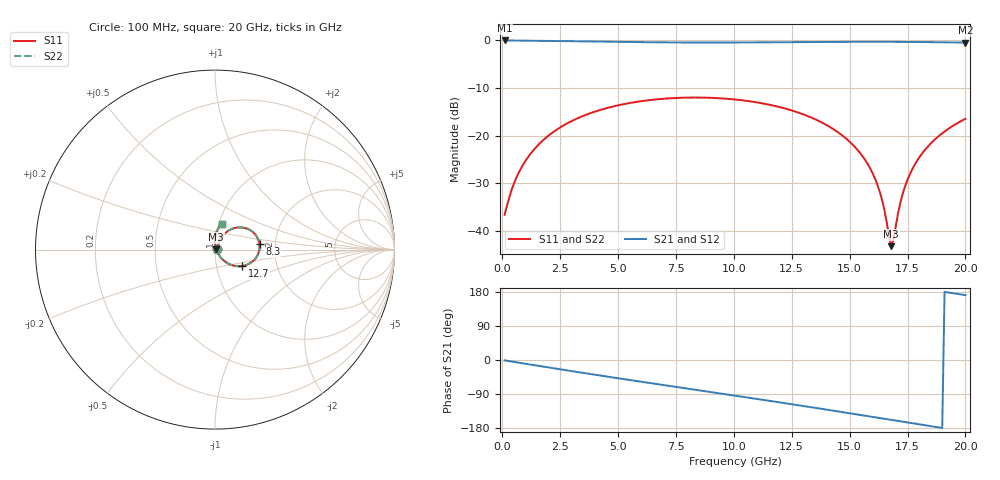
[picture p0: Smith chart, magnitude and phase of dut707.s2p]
! Touchstone file exported from HFSS 2026.1.0
!  File:  C:/ffzhzh/LocalFiles/Ansys_Project_Files/temp_train_TSV_RDL_707_1783199758_18472.aedt
!  Generated:  05:24:49 AM Jul  5, 2026
!  Design:  TSV_RDL
!  Project:  temp_train_TSV_RDL_707_1783199758_18472
! Variables:
!  h_bsmrdl = 3.28um
!  h_ox = 20um
!  h_rdl = 5um
!  h_sub = 85.36um
!  h_tmrdl = 5.14um
!  h_tsv = 85.36um
!  h_via = 3um
!  l_bsmrdl = 271.57um
!  l_sub = 2661.5um
!  l_tmrdl = 339.73um
!  m_sub = 200um
!  pitch = 33.59um
!  r_tsv = 12.86um
!  s_tmrdl = 10um
!  w_bsmrdl = 14.24um
!  w_sub = 500um
!  w_tmrdl = 15.05um
!  x_tsv_center1 = 347.255um
!  x_tsv_center2 = 633.065um
!  x_tsv_center3 = 987.845um
!  x_tsv_center4 = 1273.655um
!  x_tsv_center5 = 1628.435um
!  x_tsv_center6 = 1914.245um
# GHz S MA R 50.000000
! Terminal data exported
! Port[1] = TM_RDL1_1_T1
! Port[2] = TM_RDL5_1_T1
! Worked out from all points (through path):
!   200 points, 100 MHz to 20 GHz, reference 50 ohm
!   highest |S21| = -0.12 dB at 100 MHz (marker M1); lowest = -0.6 dB at 20 GHz (marker M2)
!   group delay of S21, straight-line fit = 26 ps
!   lowest |S11| = -43.1 dB at 16.8 GHz (marker M3), VSWR 1.01, Z = 50.7 + j0.161 ohm
!   |S11| at or under -10 dB: start of sweep to end of sweep
!   |S22| runs from -43.1 to -12.0 dB; largest |S21 - S12| = 2.4e-14
!   S11 on the Smith chart (normalised r, x): 100 MHz: 1.03, +0.01; 8.3 GHz: 1.66, +0.11; 12.7 GHz: 1.33, -0.25; 20 GHz: 1.03, +0.31
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0.1  0.01485 22.4  0.9864 -1.0  0.9864 -1.0  0.01485 22.4
! Gamma 0 0 0 0
! Port Impedance 50 0 50 0
0.6  0.0359 57.3  0.9833 -6.1  0.9833 -6.1  0.0359 57.3
1.3  0.06822 62.0  0.9799 -12.9  0.9799 -12.9  0.06822 62.0
2.2  0.1088 58.0  0.9745 -21.7  0.9745 -21.7  0.1088 58.0
3.5  0.1607 48.1  0.9647 -34.1  0.9647 -34.1  0.1607 48.1
6.8  0.2407 19.9  0.9427 -64.6  0.9427 -64.6  0.2407 19.9
8.3  0.2498 6.9  0.9385 -78.2  0.9385 -78.2  0.2498 7.0
10.1  0.2376 -8.6  0.9393 -94.5  0.9393 -94.5  0.2376 -8.6
12.7  0.1766 -31.2  0.9479 -118.6  0.9479 -118.6  0.1766 -31.2
13.4  0.1522 -37.3  0.9506 -125.2  0.9506 -125.2  0.1523 -37.3
14.7  0.09959 -48.0  0.9544 -137.6  0.9544 -137.6  0.09964 -48.0
15.7  0.0542 -54.0  0.9556 -147.3  0.9556 -147.3  0.05425 -54.0
16.3  0.02596 -51.5  0.9553 -153.1  0.9553 -153.1  0.02602 -51.5
16.5  0.01679 -44.5  0.9551 -155.1  0.9551 -155.1  0.01685 -44.5
16.7  0.00887 -19.2  0.9547 -157.0  0.9547 -157.0  0.008922 -19.5
16.8  0.006976 13.2  0.9545 -158.0  0.9545 -158.0  0.007001 12.7
16.9  0.008169 49.0  0.9543 -159.0  0.9543 -159.0  0.008154 48.6
17.1  0.01574 79.2  0.9537 -160.9  0.9537 -160.9  0.01569 79.0
17.3  0.02493 87.3  0.9531 -162.9  0.9531 -162.9  0.02488 87.2
17.8  0.04892 90.6  0.9512 -167.7  0.9512 -167.7  0.04886 90.6
18.7  0.09181 86.0  0.9463 -176.4  0.9463 -176.4  0.09175 85.9
20  0.1496 75.6  0.9371 171.1  0.9371 171.1  0.1495 75.5
